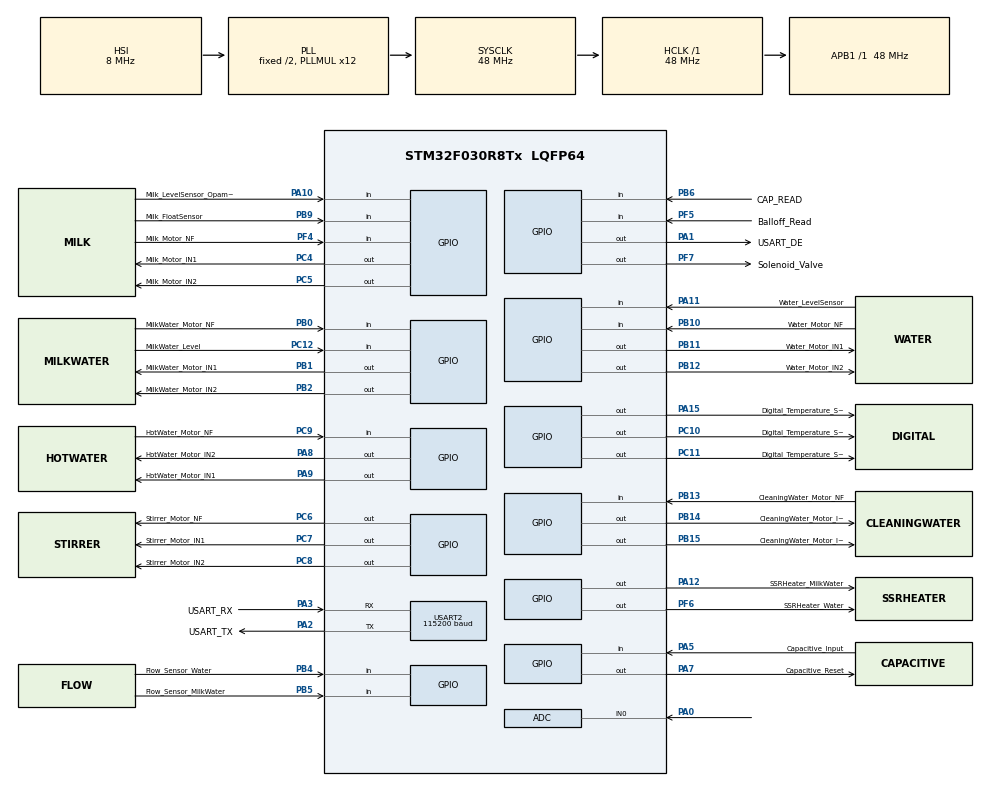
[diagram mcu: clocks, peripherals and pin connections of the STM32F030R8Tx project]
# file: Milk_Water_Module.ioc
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Mcu.Family=STM32F0
Mcu.Name=STM32F030R8Tx
Mcu.Package=LQFP64
NVIC.TIM1_BRK_UP_TRG_COM_IRQn=true\:0\:0\:false\:false\:true\:true\:true
NVIC.USART2_IRQn=true\:0\:0\:false\:false\:true\:true\:true
PA0.Mode=IN0
PA0.Signal=ADC_IN0
PA1.GPIO_Label=USART_DE
PA1.Signal=GPIO_Output
PA10.GPIO_Label=Milk_LevelSensor_OpampProtection
PA10.GPIO_PuPd=GPIO_PULLUP
PA10.Signal=GPIO_Input
PA11.GPIO_Label=Water_LevelSensor
PA11.GPIO_PuPd=GPIO_PULLUP
PA11.Signal=GPIO_Input
PA12.GPIO_Label=SSRHeater_MilkWater
PA12.GPIO_ModeDefaultOutputPP=GPIO_MODE_OUTPUT_OD
PA12.GPIO_PuPd=GPIO_PULLUP
PA12.Signal=GPIO_Output
PA13.GPIO_Label=TMS
PA13.Mode=Serial_Wire
PA13.Signal=SYS_SWDIO
PA14.GPIO_Label=TCK
PA14.Mode=Serial_Wire
PA14.Signal=SYS_SWCLK
PA15.GPIO_Label=Digital_Temperature_Sensor_Milk
PA15.GPIO_ModeDefaultOutputPP=GPIO_MODE_OUTPUT_PP
PA15.Signal=GPIO_Output
PA2.GPIO_Label=USART_TX
PA2.GPIO_Mode=GPIO_MODE_AF_PP
PA2.GPIO_PuPd=GPIO_NOPULL
PA2.GPIO_Speed=GPIO_SPEED_FREQ_LOW
PA2.Mode=Asynchronous
PA2.Signal=USART2_TX
PA3.GPIO_Label=USART_RX
PA3.GPIO_Mode=GPIO_MODE_AF_PP
PA3.GPIO_PuPd=GPIO_NOPULL
PA3.GPIO_Speed=GPIO_SPEED_FREQ_LOW
PA3.Mode=Asynchronous
PA3.Signal=USART2_RX
PA5.GPIO_Label=Capacitive_Input
PA5.GPIO_PuPd=GPIO_PULLUP
PA5.Signal=GPIO_Input
PA7.GPIO_Label=Capacitive_Reset
PA7.Signal=GPIO_Output
PA8.GPIO_Label=HotWater_Motor_IN2
PA8.Signal=GPIO_Output
PA9.GPIO_Label=HotWater_Motor_IN1
PA9.Signal=GPIO_Output
PB0.GPIO_Label=MilkWater_Motor_NF
PB0.Signal=GPIO_Input
PB1.GPIO_Label=MilkWater_Motor_IN1
PB1.Signal=GPIO_Output
PB10.GPIO_Label=Water_Motor_NF
PB10.Signal=GPIO_Input
PB11.GPIO_Label=Water_Motor_IN1
PB11.Signal=GPIO_Output
PB12.GPIO_Label=Water_Motor_IN2
PB12.Signal=GPIO_Output
PB13.GPIO_Label=CleaningWater_Motor_NF
PB13.Signal=GPIO_Input
PB14.GPIO_Label=CleaningWater_Motor_IN1
PB14.Signal=GPIO_Output
PB15.GPIO_Label=CleaningWater_Motor_IN2
PB15.Signal=GPIO_Output
PB2.GPIO_Label=MilkWater_Motor_IN2
PB2.Signal=GPIO_Output
PB4.GPIO_Label=Flow_Sensor_Water
PB4.Signal=GPIO_Input
PB5.GPIO_Label=Flow_Sensor_MilkWater
PB5.Signal=GPIO_Input
PB6.GPIO_Label=CAP_READ
PB6.Signal=GPIO_Input
PB9.GPIO_Label=Milk_FloatSensor
PB9.GPIO_PuPd=GPIO_PULLUP
PB9.Signal=GPIO_Input
PC10.GPIO_Label=Digital_Temperature_Sensor_MilkWater
PC10.GPIO_ModeDefaultOutputPP=GPIO_MODE_OUTPUT_PP
PC10.Signal=GPIO_Output
PC11.GPIO_Label=Digital_Temperature_Sensor_Water
PC11.Signal=GPIO_Output
PC12.GPIO_Label=MilkWater_Level
PC12.GPIO_PuPd=GPIO_PULLUP
PC12.Signal=GPIO_Input
PC14-OSC32_IN.Mode=LSE-External-Oscillator
PC14-OSC32_IN.Signal=RCC_OSC32_IN
PC15-OSC32_OUT.Mode=LSE-External-Oscillator
PC15-OSC32_OUT.Signal=RCC_OSC32_OUT
PC4.GPIO_Label=Milk_Motor_IN1
PC4.Signal=GPIO_Output
PC5.GPIO_Label=Milk_Motor_IN2
PC5.Signal=GPIO_Output
PC6.GPIO_Label=Stirrer_Motor_NF
PC6.Signal=GPIO_Output
PC7.GPIO_Label=Stirrer_Motor_IN1
PC7.Signal=GPIO_Output
PC8.GPIO_Label=Stirrer_Motor_IN2
PC8.Signal=GPIO_Output
PC9.GPIO_Label=HotWater_Motor_NF
PC9.Signal=GPIO_Input
PF0-OSC_IN.Mode=HSE-External-Clock-Source
PF0-OSC_IN.Signal=RCC_OSC_IN
PF1-OSC_OUT.Signal=RCC_OSC_OUT
PF4.GPIO_Label=Milk_Motor_NF
PF4.Signal=GPIO_Input
PF5.GPIO_Label=Balloff_Read
PF5.GPIO_PuPd=GPIO_PULLUP
PF5.Signal=GPIO_Input
PF6.GPIO_Label=SSRHeater_Water
PF6.Signal=GPIO_Output
PF7.GPIO_Label=Solenoid_Valve
PF7.Signal=GPIO_Output
ProjectManager.HeapSize=0x200
ProjectManager.StackSize=0x400
ProjectManager.TargetToolchain=STM32CubeIDE
RCC.AHBFreq_Value=48000000
RCC.APB1Freq_Value=48000000
RCC.APB1TimFreq_Value=48000000
RCC.HCLKFreq_Value=48000000
RCC.PLLMUL=RCC_PLL_MUL12
RCC.SYSCLKFreq_VALUE=48000000
RCC.SYSCLKSource=RCC_SYSCLKSOURCE_PLLCLK
TIM1.Period=4799
TIM1.Prescaler=999
TIM3.Channel-Output\ Compare1\ No\ Output=TIM_CHANNEL_1
TIM3.Period=0xFFFF-1
TIM3.Prescaler=47
USART2.BaudRate=115200
USART2.VirtualMode-Asynchronous=VM_ASYNC
VP_TIM1_VS_ClockSourceINT.Mode=Internal
VP_TIM3_VS_ClockSourceINT.Mode=Internal
VP_TIM3_VS_no_output1.Mode=Output Compare1 No Output
board=NUCLEO-F030R8

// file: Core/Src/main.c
/* USER CODE BEGIN Header */
/**
 ******************************************************************************
 * @file           : main.c
 * @brief          : Main program body
 ******************************************************************************
 * @attention
 *
 * <h2><center>&copy; Copyright (c) 2020 STMicroelectronics.
 * All rights reserved.</center></h2>
 *
 * This software component is licensed by ST under BSD 3-Clause license,
 * the "License"; You may not use this file except in compliance with the
 * License. You may obtain a copy of the License at:
 *                        opensource.org/licenses/BSD-3-Clause
 *
 ******************************************************************************
 */
/* USER CODE END Header */

#include "main.h"

/* USER CODE BEGIN Includes */
#include <mainProcess.h>
#include <mainProcessFunction.h>
#include <mainProcessVariables.h>
#include <stdint.h>
/* USER CODE END Includes */

/* USER CODE BEGIN PD */
//uint8_t Cap_buff[10];
//uint8_t Cap_Read = 0;
//uint8_t Cap_Flag = 0;
//uint8_t Cap_Flag_Reset = 0;
//uint8_t Cap_Buff_Read = 0;
//uint8_t Cap_Counts = 0;
//extern uint8_t Cap_WaitSeconds;
//uint8_t Cap_WaitFlag = 0;
/* USER CODE END PD */

ADC_HandleTypeDef hadc;

TIM_HandleTypeDef htim1;
TIM_HandleTypeDef htim3;

UART_HandleTypeDef huart2;

void SystemClock_Config(void);
static void MX_GPIO_Init(void);
static void MX_USART2_UART_Init(void);
static void MX_TIM1_Init(void);
static void MX_TIM3_Init(void);
static void MX_ADC_Init(void);

/* USER CODE BEGIN 0 */
int read = 0;
int read2 = 0;
/* USER CODE END 0 */

int main(void)
{

  /* MCU Configuration--------------------------------------------------------*/

  /* Reset of all peripherals, Initializes the Flash interface and the Systick. */
  HAL_Init();

  /* Configure the system clock */
  SystemClock_Config();

  /* Initialize all configured peripherals */
  MX_GPIO_Init();
  MX_USART2_UART_Init();
  MX_TIM1_Init();
  MX_TIM3_Init();
  MX_ADC_Init();
  /* USER CODE BEGIN 2 */

	//  Process.Variables.InitProcess = Milk_Water;
	//  Process.Variables.Cleaning.InitProcess = PrilCleaning;

//	HAL_GPIO_WritePin(Level_Toggling_1_GPIO_Port, Level_Toggling_1_Pin, SET);
//	HAL_GPIO_WritePin(Level_Toggling_2_GPIO_Port, Level_Toggling_2_Pin, RESET);

	//	int i = 10;
	//	while (i>0)
	//	{
#if 0			// Runnign Code
	HAL_GPIO_WritePin(Capacitive_Reset_GPIO_Port, Capacitive_Reset_Pin, SET);
	HAL_Delay(110);
	Cap_Read = !(HAL_GPIO_ReadPin(Capacitive_Input_GPIO_Port, Capacitive_Input_Pin));
#endif

	//	HAL_GPIO_WritePin(Capacitive_Reset_GPIO_Port, Capacitive_Reset_Pin, SET);
	//	HAL_Delay(4.5);
	//	HAL_GPIO_WritePin(Capacitive_Reset_GPIO_Port, Capacitive_Reset_Pin, RESET);
	//	Cap_Read = !(HAL_GPIO_ReadPin(Capacitive_Input_GPIO_Port, Capacitive_Input_Pin));

	//	HAL_GPIO_WritePin(Capacitive_Reset_GPIO_Port, Capacitive_Reset_Pin, RESET);
	//	HAL_Delay(4.5);
	//
	//	HAL_GPIO_WritePin(Capacitive_Reset_GPIO_Port, Capacitive_Reset_Pin, SET);
	//	HAL_Delay(110);
	//	Cap_Read = !(HAL_GPIO_ReadPin(Capacitive_Input_GPIO_Port, Capacitive_Input_Pin));

	//	HAL_GPIO_WritePin(Capacitive_Reset_GPIO_Port, Capacitive_Reset_Pin, SET);
	//	HAL_Delay(110);
	//	Cap_Read = !(HAL_GPIO_ReadPin(Capacitive_Input_GPIO_Port, Capacitive_Input_Pin));
	//	Cap_buff[0] = !(HAL_GPIO_ReadPin(Capacitive_Input_GPIO_Port, Capacitive_Input_Pin));
	//
	//	HAL_UART_Transmit(&huart2, (uint8_t *) Cap_buff, sizeof(Cap_buff), HAL_MAX_DELAY);
	//	i--;
	//	}
	//
	//	HAL_GPIO_WritePin(Capacitive_Reset_GPIO_Port, Capacitive_Reset_Pin, SET);

	//	HAL_GPIO_WritePin(Capacitive_Voltage_GPIO_Port, Capacitive_Voltage_Pin, SET);
	//  HAL_Delay(100);
	//
	//  Motor_Milk_AntiClkwise();
	//  HAL_GPIO_WritePin(Capacitive_Reset_GPIO_Port, Capacitive_Reset_Pin, RESET);
	//
	//  HAL_Delay(1000);
	//  Motor_Milk_Stop();
	//
	//  HAL_GPIO_WritePin(Capacitive_Reset_GPIO_Port, Capacitive_Reset_Pin, SET);

	HAL_TIM_Base_Start_IT(&htim1);
	HAL_TIM_Base_Start(&htim3);

	//  HAL_GPIO_WritePin(Capacitive_Reset_GPIO_Port, Capacitive_Reset_Pin, SET);
	//  HAL_Delay(100);

	Process.Variables.InitProcess = Idle;
  /* USER CODE END 2 */

  /* Infinite loop */
  /* USER CODE BEGIN WHILE */

	//  Process.Variables.Cleaning.RxRepeatProcessCounts = 3;
	//  Process.Variables.Cleaning.ProcessExeCounts = 2;
	//  TestProcess();		// Only for Testing Purpose

	// Change milk pin with milkwater pin on board
//	  Motor_MilkWater_Clkwise();			//
//	  HAL_Delay(5000);
	Motor_MilkWater_Stop();

	//  Motor_Milk_Clkwise();
//	  Motor_Milk_AntiClkwise();
//	  HAL_Delay(5000);
	Motor_Milk_Stop();

//	  Motor_Water_Clkwise();
//	  HAL_Delay(5000);
	Motor_Water_Stop();

//	  Motor_CleaningWater_Clkwise();		// Cleaning
//	  HAL_Delay(5000);
	Motor_CleaningWater_Stop();

//	  Motor_Stirrer_Clkwise();
//	  HAL_Delay(5000);
	Motor_Stirrer_Stop();

//	  Motor_HotWater_Clkwise();
//	  HAL_Delay(5000);
	Motor_HotWater_Stop();

//	  SSRHeater_ON_MilkWater();			// Interchange the pins on board
//	  HAL_Delay(5000);
	SSRHeater_OFF_MilkWater();

//	  SSRHeater_ON_Water();
//	  HAL_Delay(5000);
	SSRHeater_OFF_Water();

	HAL_GPIO_WritePin(Stirrer_Motor_NF_GPIO_Port, Stirrer_Motor_NF_Pin, SET);

//	  Motor_Stirrer_Clkwise();
//	  HAL_Delay(5000);
	  Motor_Stirrer_Stop();

	Temperature_PreviousValue_Milk		= 	DigitalSensor_Read_Milk();
	Temperature_PreviousValue_MilkWater = 	DigitalSensor_Read_MilkWater();
	Temperature_PreviousValue_Water 	= 	DigitalSensor_Read_Water();

	while (1)
	{
    /* USER CODE END WHILE */

    /* USER CODE BEGIN 3 */
		StartProcess();
//		read = HAL_GPIO_ReadPin(GPIOA, GPIO_PIN_11);
//		read2 = HAL_GPIO_ReadPin(GPIOB, GPIO_PIN_9);
	}
  /* USER CODE END 3 */
}

void SystemClock_Config(void)
{
  RCC_OscInitTypeDef RCC_OscInitStruct = {0};
  RCC_ClkInitTypeDef RCC_ClkInitStruct = {0};

  /** Initializes the CPU, AHB and APB busses clocks
  */
  RCC_OscInitStruct.OscillatorType = RCC_OSCILLATORTYPE_HSI|RCC_OSCILLATORTYPE_HSI14;
  RCC_OscInitStruct.HSIState = RCC_HSI_ON;
  RCC_OscInitStruct.HSI14State = RCC_HSI14_ON;
  RCC_OscInitStruct.HSICalibrationValue = RCC_HSICALIBRATION_DEFAULT;
  RCC_OscInitStruct.HSI14CalibrationValue = 16;
  RCC_OscInitStruct.PLL.PLLState = RCC_PLL_ON;
  RCC_OscInitStruct.PLL.PLLSource = RCC_PLLSOURCE_HSI;
  RCC_OscInitStruct.PLL.PLLMUL = RCC_PLL_MUL12;
  RCC_OscInitStruct.PLL.PREDIV = RCC_PREDIV_DIV1;
  if (HAL_RCC_OscConfig(&RCC_OscInitStruct) != HAL_OK)
  {
    Error_Handler();
  }
  /** Initializes the CPU, AHB and APB busses clocks
  */
  RCC_ClkInitStruct.ClockType = RCC_CLOCKTYPE_HCLK|RCC_CLOCKTYPE_SYSCLK
                              |RCC_CLOCKTYPE_PCLK1;
  RCC_ClkInitStruct.SYSCLKSource = RCC_SYSCLKSOURCE_PLLCLK;
  RCC_ClkInitStruct.AHBCLKDivider = RCC_SYSCLK_DIV1;
  RCC_ClkInitStruct.APB1CLKDivider = RCC_HCLK_DIV1;

  if (HAL_RCC_ClockConfig(&RCC_ClkInitStruct, FLASH_LATENCY_1) != HAL_OK)
  {
    Error_Handler();
  }
}

static void MX_ADC_Init(void)
{

  ADC_ChannelConfTypeDef sConfig = {0};

  /** Configure the global features of the ADC (Clock, Resolution, Data Alignment and number of conversion)
  */
  hadc.Instance = ADC1;
  hadc.Init.ClockPrescaler = ADC_CLOCK_ASYNC_DIV1;
  hadc.Init.Resolution = ADC_RESOLUTION_12B;
  hadc.Init.DataAlign = ADC_DATAALIGN_RIGHT;
  hadc.Init.ScanConvMode = ADC_SCAN_DIRECTION_FORWARD;
  hadc.Init.EOCSelection = ADC_EOC_SINGLE_CONV;
  hadc.Init.LowPowerAutoWait = DISABLE;
  hadc.Init.LowPowerAutoPowerOff = DISABLE;
  hadc.Init.ContinuousConvMode = DISABLE;
  hadc.Init.DiscontinuousConvMode = DISABLE;
  hadc.Init.ExternalTrigConv = ADC_SOFTWARE_START;
  hadc.Init.ExternalTrigConvEdge = ADC_EXTERNALTRIGCONVEDGE_NONE;
  hadc.Init.DMAContinuousRequests = DISABLE;
  hadc.Init.Overrun = ADC_OVR_DATA_PRESERVED;
  if (HAL_ADC_Init(&hadc) != HAL_OK)
  {
    Error_Handler();
  }
  /** Configure for the selected ADC regular channel to be converted.
  */
  sConfig.Channel = ADC_CHANNEL_0;
  sConfig.Rank = ADC_RANK_CHANNEL_NUMBER;
  sConfig.SamplingTime = ADC_SAMPLETIME_1CYCLE_5;
  if (HAL_ADC_ConfigChannel(&hadc, &sConfig) != HAL_OK)
  {
    Error_Handler();
  }

}

static void MX_TIM1_Init(void)
{

  TIM_ClockConfigTypeDef sClockSourceConfig = {0};
  TIM_MasterConfigTypeDef sMasterConfig = {0};

  htim1.Instance = TIM1;
  htim1.Init.Prescaler = 999;
  htim1.Init.CounterMode = TIM_COUNTERMODE_UP;
  htim1.Init.Period = 4799;
  htim1.Init.ClockDivision = TIM_CLOCKDIVISION_DIV1;
  htim1.Init.RepetitionCounter = 0;
  htim1.Init.AutoReloadPreload = TIM_AUTORELOAD_PRELOAD_DISABLE;
  if (HAL_TIM_Base_Init(&htim1) != HAL_OK)
  {
    Error_Handler();
  }
  sClockSourceConfig.ClockSource = TIM_CLOCKSOURCE_INTERNAL;
  if (HAL_TIM_ConfigClockSource(&htim1, &sClockSourceConfig) != HAL_OK)
  {
    Error_Handler();
  }
  sMasterConfig.MasterOutputTrigger = TIM_TRGO_RESET;
  sMasterConfig.MasterSlaveMode = TIM_MASTERSLAVEMODE_DISABLE;
  if (HAL_TIMEx_MasterConfigSynchronization(&htim1, &sMasterConfig) != HAL_OK)
  {
    Error_Handler();
  }

}

static void MX_TIM3_Init(void)
{

  TIM_ClockConfigTypeDef sClockSourceConfig = {0};
  TIM_MasterConfigTypeDef sMasterConfig = {0};
  TIM_OC_InitTypeDef sConfigOC = {0};

  htim3.Instance = TIM3;
  htim3.Init.Prescaler = 47;
  htim3.Init.CounterMode = TIM_COUNTERMODE_UP;
  htim3.Init.Period = 0xFFFF-1;
  htim3.Init.ClockDivision = TIM_CLOCKDIVISION_DIV1;
  htim3.Init.AutoReloadPreload = TIM_AUTORELOAD_PRELOAD_DISABLE;
  if (HAL_TIM_Base_Init(&htim3) != HAL_OK)
  {
    Error_Handler();
  }
  sClockSourceConfig.ClockSource = TIM_CLOCKSOURCE_INTERNAL;
  if (HAL_TIM_ConfigClockSource(&htim3, &sClockSourceConfig) != HAL_OK)
  {
    Error_Handler();
  }
  if (HAL_TIM_OC_Init(&htim3) != HAL_OK)
  {
    Error_Handler();
  }
  sMasterConfig.MasterOutputTrigger = TIM_TRGO_RESET;
  sMasterConfig.MasterSlaveMode = TIM_MASTERSLAVEMODE_DISABLE;
  if (HAL_TIMEx_MasterConfigSynchronization(&htim3, &sMasterConfig) != HAL_OK)
  {
    Error_Handler();
  }
  sConfigOC.OCMode = TIM_OCMODE_TIMING;
  sConfigOC.Pulse = 0;
  sConfigOC.OCPolarity = TIM_OCPOLARITY_HIGH;
  sConfigOC.OCFastMode = TIM_OCFAST_DISABLE;
  if (HAL_TIM_OC_ConfigChannel(&htim3, &sConfigOC, TIM_CHANNEL_1) != HAL_OK)
  {
    Error_Handler();
  }

}

static void MX_USART2_UART_Init(void)
{

  huart2.Instance = USART2;
  huart2.Init.BaudRate = 115200;
  huart2.Init.WordLength = UART_WORDLENGTH_8B;
  huart2.Init.StopBits = UART_STOPBITS_1;
  huart2.Init.Parity = UART_PARITY_NONE;
  huart2.Init.Mode = UART_MODE_TX_RX;
  huart2.Init.HwFlowCtl = UART_HWCONTROL_NONE;
  huart2.Init.OverSampling = UART_OVERSAMPLING_16;
  huart2.Init.OneBitSampling = UART_ONE_BIT_SAMPLE_DISABLE;
  huart2.AdvancedInit.AdvFeatureInit = UART_ADVFEATURE_NO_INIT;
  if (HAL_UART_Init(&huart2) != HAL_OK)
  {
    Error_Handler();
  }

}

static void MX_GPIO_Init(void)
{
  GPIO_InitTypeDef GPIO_InitStruct = {0};

  /* GPIO Ports Clock Enable */
  __HAL_RCC_GPIOC_CLK_ENABLE();
  __HAL_RCC_GPIOF_CLK_ENABLE();
  __HAL_RCC_GPIOA_CLK_ENABLE();
  __HAL_RCC_GPIOB_CLK_ENABLE();

  /*Configure GPIO pin Output Level */
  HAL_GPIO_WritePin(GPIOA, USART_DE_Pin|Capacitive_Reset_Pin|HotWater_Motor_IN2_Pin|HotWater_Motor_IN1_Pin
                          |SSRHeater_MilkWater_Pin|Digital_Temperature_Sensor_Milk_Pin, GPIO_PIN_RESET);

  /*Configure GPIO pin Output Level */
  HAL_GPIO_WritePin(GPIOC, Milk_Motor_IN1_Pin|Milk_Motor_IN2_Pin|Stirrer_Motor_NF_Pin|Stirrer_Motor_IN1_Pin
                          |Stirrer_Motor_IN2_Pin|Digital_Temperature_Sensor_MilkWater_Pin|Digital_Temperature_Sensor_Water_Pin, GPIO_PIN_RESET);

  /*Configure GPIO pin Output Level */
  HAL_GPIO_WritePin(GPIOB, MilkWater_Motor_IN1_Pin|MilkWater_Motor_IN2_Pin|Water_Motor_IN1_Pin|Water_Motor_IN2_Pin
                          |CleaningWater_Motor_IN1_Pin|CleaningWater_Motor_IN2_Pin, GPIO_PIN_RESET);

  /*Configure GPIO pin Output Level */
  HAL_GPIO_WritePin(GPIOF, SSRHeater_Water_Pin|Solenoid_Valve_Pin, GPIO_PIN_RESET);

  /*Configure GPIO pins : USART_DE_Pin Capacitive_Reset_Pin HotWater_Motor_IN2_Pin HotWater_Motor_IN1_Pin
                           Digital_Temperature_Sensor_Milk_Pin */
  GPIO_InitStruct.Pin = USART_DE_Pin|Capacitive_Reset_Pin|HotWater_Motor_IN2_Pin|HotWater_Motor_IN1_Pin
                          |Digital_Temperature_Sensor_Milk_Pin;
  GPIO_InitStruct.Mode = GPIO_MODE_OUTPUT_PP;
  GPIO_InitStruct.Pull = GPIO_NOPULL;
  GPIO_InitStruct.Speed = GPIO_SPEED_FREQ_LOW;
  HAL_GPIO_Init(GPIOA, &GPIO_InitStruct);

  /*Configure GPIO pin : Milk_Motor_NF_Pin */
  GPIO_InitStruct.Pin = Milk_Motor_NF_Pin;
  GPIO_InitStruct.Mode = GPIO_MODE_INPUT;
  GPIO_InitStruct.Pull = GPIO_NOPULL;
  HAL_GPIO_Init(Milk_Motor_NF_GPIO_Port, &GPIO_InitStruct);

  /*Configure GPIO pin : Balloff_Read_Pin */
  GPIO_InitStruct.Pin = Balloff_Read_Pin;
  GPIO_InitStruct.Mode = GPIO_MODE_INPUT;
  GPIO_InitStruct.Pull = GPIO_PULLUP;
  HAL_GPIO_Init(Balloff_Read_GPIO_Port, &GPIO_InitStruct);

  /*Configure GPIO pins : Capacitive_Input_Pin Milk_LevelSensor_OpampProtection_Pin Water_LevelSensor_Pin */
  GPIO_InitStruct.Pin = Capacitive_Input_Pin|Milk_LevelSensor_OpampProtection_Pin|Water_LevelSensor_Pin;
  GPIO_InitStruct.Mode = GPIO_MODE_INPUT;
  GPIO_InitStruct.Pull = GPIO_PULLUP;
  HAL_GPIO_Init(GPIOA, &GPIO_InitStruct);

  /*Configure GPIO pins : Milk_Motor_IN1_Pin Milk_Motor_IN2_Pin Stirrer_Motor_NF_Pin Stirrer_Motor_IN1_Pin
                           Stirrer_Motor_IN2_Pin Digital_Temperature_Sensor_MilkWater_Pin Digital_Temperature_Sensor_Water_Pin */
  GPIO_InitStruct.Pin = Milk_Motor_IN1_Pin|Milk_Motor_IN2_Pin|Stirrer_Motor_NF_Pin|Stirrer_Motor_IN1_Pin
                          |Stirrer_Motor_IN2_Pin|Digital_Temperature_Sensor_MilkWater_Pin|Digital_Temperature_Sensor_Water_Pin;
  GPIO_InitStruct.Mode = GPIO_MODE_OUTPUT_PP;
  GPIO_InitStruct.Pull = GPIO_NOPULL;
  GPIO_InitStruct.Speed = GPIO_SPEED_FREQ_LOW;
  HAL_GPIO_Init(GPIOC, &GPIO_InitStruct);

  /*Configure GPIO pins : MilkWater_Motor_NF_Pin Water_Motor_NF_Pin CleaningWater_Motor_NF_Pin Flow_Sensor_Water_Pin
                           Flow_Sensor_MilkWater_Pin CAP_READ_Pin */
  GPIO_InitStruct.Pin = MilkWater_Motor_NF_Pin|Water_Motor_NF_Pin|CleaningWater_Motor_NF_Pin|Flow_Sensor_Water_Pin
                          |Flow_Sensor_MilkWater_Pin|CAP_READ_Pin;
  GPIO_InitStruct.Mode = GPIO_MODE_INPUT;
  GPIO_InitStruct.Pull = GPIO_NOPULL;
  HAL_GPIO_Init(GPIOB, &GPIO_InitStruct);

  /*Configure GPIO pins : MilkWater_Motor_IN1_Pin MilkWater_Motor_IN2_Pin Water_Motor_IN1_Pin Water_Motor_IN2_Pin
                           CleaningWater_Motor_IN1_Pin CleaningWater_Motor_IN2_Pin */
  GPIO_InitStruct.Pin = MilkWater_Motor_IN1_Pin|MilkWater_Motor_IN2_Pin|Water_Motor_IN1_Pin|Water_Motor_IN2_Pin
                          |CleaningWater_Motor_IN1_Pin|CleaningWater_Motor_IN2_Pin;
  GPIO_InitStruct.Mode = GPIO_MODE_OUTPUT_PP;
  GPIO_InitStruct.Pull = GPIO_NOPULL;
  GPIO_InitStruct.Speed = GPIO_SPEED_FREQ_LOW;
  HAL_GPIO_Init(GPIOB, &GPIO_InitStruct);

  /*Configure GPIO pin : HotWater_Motor_NF_Pin */
  GPIO_InitStruct.Pin = HotWater_Motor_NF_Pin;
  GPIO_InitStruct.Mode = GPIO_MODE_INPUT;
  GPIO_InitStruct.Pull = GPIO_NOPULL;
  HAL_GPIO_Init(HotWater_Motor_NF_GPIO_Port, &GPIO_InitStruct);

  /*Configure GPIO pin : SSRHeater_MilkWater_Pin */
  GPIO_InitStruct.Pin = SSRHeater_MilkWater_Pin;
  GPIO_InitStruct.Mode = GPIO_MODE_OUTPUT_OD;
  GPIO_InitStruct.Pull = GPIO_PULLUP;
  GPIO_InitStruct.Speed = GPIO_SPEED_FREQ_LOW;
  HAL_GPIO_Init(SSRHeater_MilkWater_GPIO_Port, &GPIO_InitStruct);

  /*Configure GPIO pins : SSRHeater_Water_Pin Solenoid_Valve_Pin */
  GPIO_InitStruct.Pin = SSRHeater_Water_Pin|Solenoid_Valve_Pin;
  GPIO_InitStruct.Mode = GPIO_MODE_OUTPUT_PP;
  GPIO_InitStruct.Pull = GPIO_NOPULL;
  GPIO_InitStruct.Speed = GPIO_SPEED_FREQ_LOW;
  HAL_GPIO_Init(GPIOF, &GPIO_InitStruct);

  /*Configure GPIO pin : MilkWater_Level_Pin */
  GPIO_InitStruct.Pin = MilkWater_Level_Pin;
  GPIO_InitStruct.Mode = GPIO_MODE_INPUT;
  GPIO_InitStruct.Pull = GPIO_PULLUP;
  HAL_GPIO_Init(MilkWater_Level_GPIO_Port, &GPIO_InitStruct);

  /*Configure GPIO pin : Milk_FloatSensor_Pin */
  GPIO_InitStruct.Pin = Milk_FloatSensor_Pin;
  GPIO_InitStruct.Mode = GPIO_MODE_INPUT;
  GPIO_InitStruct.Pull = GPIO_PULLUP;
  HAL_GPIO_Init(Milk_FloatSensor_GPIO_Port, &GPIO_InitStruct);

}

void Error_Handler(void)
{
}

/************************ (C) COPYRIGHT STMicroelectronics *****END OF FILE****/
